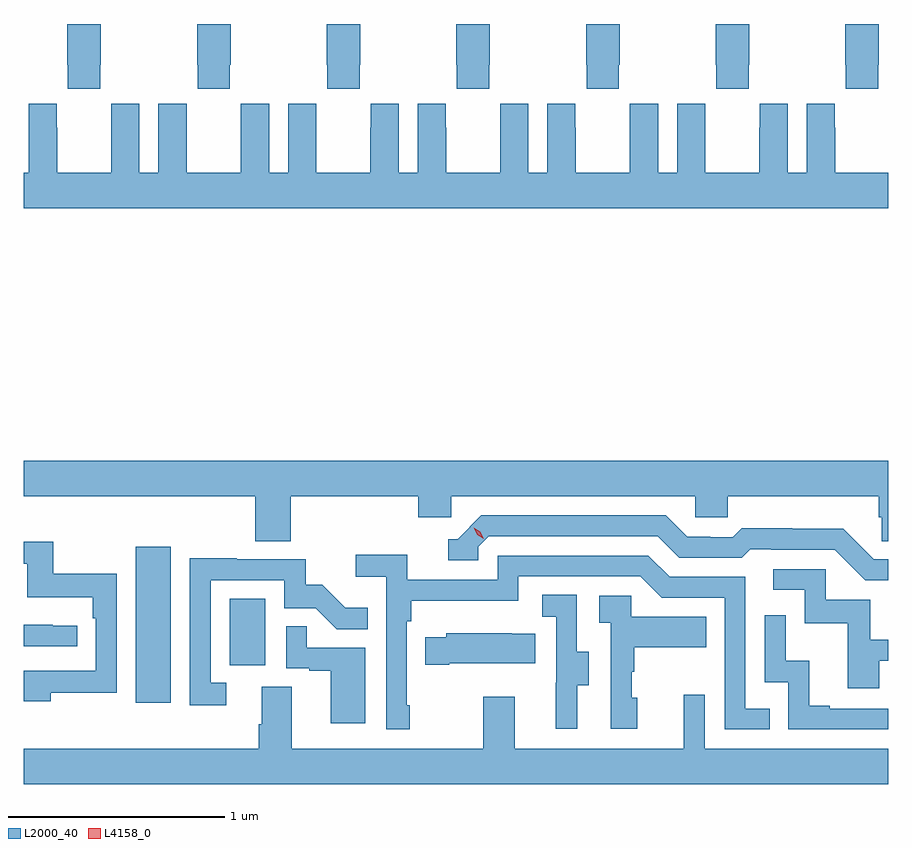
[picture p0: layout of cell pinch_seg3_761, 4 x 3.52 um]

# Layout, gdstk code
import gdstk
lib = gdstk.Library(unit=1e-6, precision=1e-09)
def R(c, l, rs):  # rectangles x0, y0, x1, y1
    for r in rs: c.add(gdstk.rectangle(r[:2], r[2:], *l))
def P(c, l, *ps):  # polygons
    for p in ps: c.add(gdstk.Polygon(p, *l))
L2000_40 = (2000, 40)
L4158_0 = (4158, 0)

pinch_seg3_761 = lib.new_cell('pinch_seg3_761')
R(pinch_seg3_761, L2000_40, [(816.233,729.264,816.394,729.985), (816.668,729.438,816.832,729.745)])
P(pinch_seg3_761, L2000_40, [(817.869,732.217),(817.872,732.217),(817.872,732.405),(817.717,732.405),(817.717,732.217),(817.719,732.217),(817.719,732.105),(817.869,732.105)],
  [(817.117,732.217),(817.119,732.217),(817.119,732.105),(817.269,732.105),(817.269,732.217),(817.272,732.217),(817.272,732.405),(817.117,732.405)],
  [(816.069,732.217),(816.072,732.217),(816.072,732.405),(815.917,732.405),(815.917,732.217),(815.919,732.217),(815.919,732.105),(816.069,732.105)],
  [(816.669,732.217),(816.672,732.217),(816.672,732.405),(816.517,732.405),(816.517,732.217),(816.519,732.217),(816.519,732.105),(816.669,732.105)],
  [(819.069,732.217),(819.072,732.217),(819.072,732.405),(818.917,732.405),(818.917,732.217),(818.919,732.217),(818.919,732.105),(819.069,732.105)],
  [(818.469,732.217),(818.472,732.217),(818.472,732.405),(818.317,732.405),(818.317,732.217),(818.319,732.217),(818.319,732.105),(818.469,732.105)],
  [(819.669,732.217),(819.672,732.217),(819.672,732.405),(819.517,732.405),(819.517,732.217),(819.519,732.217),(819.519,732.105),(819.669,732.105)],
  [(819.715,731.716),(819.469,731.716),(819.469,731.924),(819.468,731.924),(819.468,732.037),(819.338,732.037),(819.338,731.716),(819.25,731.716),(819.25,732.037),(819.12,732.037),(819.12,731.924),(819.119,731.924),(819.119,731.716),(818.869,731.716),(818.869,731.924),(818.868,731.924),(818.868,732.037),(818.738,732.037),(818.738,731.716),(818.65,731.716),(818.65,732.037),(818.52,732.037),(818.52,731.924),(818.519,731.924),(818.519,731.716),(818.269,731.716),(818.269,731.924),(818.268,731.924),(818.268,732.037),(818.138,732.037),(818.138,731.716),(818.05,731.716),(818.05,732.037),(817.92,732.037),(817.92,731.924),(817.919,731.924),(817.919,731.716),(817.669,731.716),(817.669,731.924),(817.668,731.924),(817.668,732.037),(817.538,732.037),(817.538,731.716),(817.45,731.716),(817.45,732.037),(817.32,732.037),(817.32,731.924),(817.319,731.924),(817.319,731.716),(817.069,731.716),(817.069,731.924),(817.068,731.924),(817.068,732.037),(816.938,732.037),(816.938,731.716),(816.85,731.716),(816.85,732.037),(816.72,732.037),(816.72,731.924),(816.719,731.924),(816.719,731.716),(816.469,731.716),(816.469,731.924),(816.468,731.924),(816.468,732.037),(816.338,732.037),(816.338,731.716),(816.25,731.716),(816.25,732.037),(816.12,732.037),(816.12,731.924),(816.119,731.924),(816.119,731.716),(815.869,731.716),(815.869,731.924),(815.868,731.924),(815.868,732.037),(815.738,732.037),(815.738,731.716),(815.715,731.716),(815.715,731.552),(819.715,731.552)],
  [(815.715,730.22),(816.785,730.22),(816.785,730.012),(816.95,730.012),(816.95,730.22),(817.541,730.22),(817.541,730.122),(817.692,730.122),(817.692,730.22),(818.823,730.22),(818.823,730.122),(818.973,730.122),(818.973,730.22),(819.671,730.22),(819.671,730.122),(819.685,730.122),(819.685,730.012),(819.715,730.012),(819.715,730.384),(815.715,730.384)],
  [(819.715,729.927),(819.648,729.927),(819.506,730.069),(819.27,730.069),(819.27,730.072),(819.037,730.072),(818.995,730.029),(818.892,730.029),(818.892,730.032),(818.785,730.032),(818.686,730.131),(817.833,730.131),(817.722,730.02),(817.679,730.02),(817.679,729.924),(817.818,729.924),(817.818,729.987),(817.866,730.035),(818.649,730.035),(818.748,729.936),(819.037,729.936),(819.076,729.975),(819.175,729.975),(819.175,729.972),(819.468,729.972),(819.609,729.831),(819.715,729.831)],
  [(815.839,729.31),(816.144,729.31),(816.144,729.862),(815.851,729.862),(815.851,730.008),(815.715,730.008),(815.715,729.907),(815.73,729.907),(815.73,729.752),(816.035,729.752),(816.035,729.656),(816.048,729.656),(816.048,729.411),(815.735,729.411),(815.735,729.412),(815.715,729.412),(815.715,729.272),(815.839,729.272)],
  [(817.501,729.253),(817.488,729.253),(817.488,729.641),(817.508,729.641),(817.508,729.737),(818.004,729.737),(818.004,729.849),(818.568,729.849),(818.667,729.75),(818.958,729.75),(818.958,729.141),(819.167,729.141),(819.167,729.237),(819.054,729.237),(819.054,729.846),(818.704,729.846),(818.605,729.945),(817.908,729.945),(817.908,729.834),(817.49,729.834),(817.49,729.95),(817.251,729.95),(817.251,729.848),(817.392,729.848),(817.392,729.141),(817.501,729.141)],
  [(816.652,729.357),(816.579,729.357),(816.579,729.831),(816.921,729.831),(816.921,729.702),(817.065,729.702),(817.163,729.604),(817.307,729.604),(817.307,729.703),(817.203,729.703),(817.096,729.81),(817.02,729.81),(817.02,729.927),(816.701,729.927),(816.701,729.932),(816.483,729.932),(816.483,729.252),(816.652,729.252)],
  [(819.673,729.459),(819.715,729.459),(819.715,729.555),(819.631,729.555),(819.631,729.741),(819.426,729.741),(819.426,729.882),(819.183,729.882),(819.183,729.786),(819.33,729.786),(819.33,729.633),(819.529,729.633),(819.529,729.33),(819.673,729.33)],
  [(818.275,729.346),(818.329,729.346),(818.329,729.501),(818.274,729.501),(818.274,729.764),(818.115,729.764),(818.115,729.661),(818.178,729.661),(818.178,729.357),(818.177,729.357),(818.177,729.144),(818.275,729.144)],
  [(818.554,729.288),(818.529,729.288),(818.529,729.407),(818.539,729.407),(818.539,729.521),(818.873,729.521),(818.873,729.661),(818.526,729.661),(818.526,729.759),(818.379,729.759),(818.379,729.635),(818.43,729.635),(818.43,729.144),(818.554,729.144)],
  [(819.715,729.237),(819.445,729.237),(819.445,729.25),(819.35,729.25),(819.35,729.458),(819.24,729.458),(819.24,729.67),(819.144,729.67),(819.144,729.36),(819.252,729.36),(819.252,729.141),(819.715,729.141)],
  [(815.962,729.621),(815.849,729.621),(815.849,729.626),(815.715,729.626),(815.715,729.525),(815.962,729.525)],
  [(817.294,729.519),(817.025,729.519),(817.025,729.617),(816.93,729.617),(816.93,729.423),(817.037,729.423),(817.037,729.411),(817.136,729.411),(817.136,729.168),(817.294,729.168)],
  [(817.684,729.446),(818.081,729.446),(818.081,729.583),(817.973,729.583),(817.973,729.586),(817.671,729.586),(817.671,729.568),(817.573,729.568),(817.573,729.439),(817.684,729.439)],
  [(819.715,729.052),(818.865,729.052),(818.865,729.301),(818.768,729.301),(818.768,729.052),(817.987,729.052),(817.987,729.292),(817.84,729.292),(817.84,729.052),(816.955,729.052),(816.955,729.338),(816.815,729.338),(816.815,729.164),(816.803,729.164),(816.803,729.052),(815.715,729.052),(815.715,728.888),(819.715,728.888)])
P(pinch_seg3_761, L4158_0, [(817.844,730.023),(817.813,730.042),(817.796,730.074),(817.796,730.074),(817.796,730.074),(817.827,730.055),(817.844,730.023),(817.844,730.023)])

lib.write_gds('pinch_seg3_761.gds')
